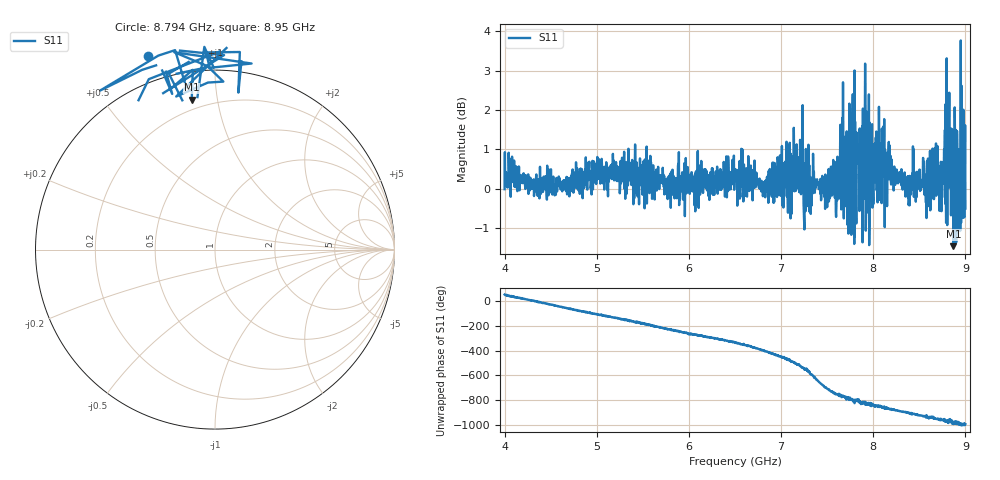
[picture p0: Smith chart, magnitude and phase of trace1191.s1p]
! Created with skrf 1.8.0 (http://scikit-rf.org).
# Hz S RI R 50.0
!freq ReS11 ImS11
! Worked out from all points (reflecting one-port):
!   1601 points, 4 GHz to 9 GHz, reference 50 ohm
!   lowest |S11| = -1.5 dB at 8.869 GHz (marker M1), VSWR 11.98, Z = 7.2 + j42.3 ohm
!   phase of S11 starts at 54 deg and turns -1049 deg over the sweep
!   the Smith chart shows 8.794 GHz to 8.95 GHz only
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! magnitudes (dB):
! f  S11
! 4 GHz  0.0
! 4.069 GHz  0.8
! 4.625 GHz  -0.1
! 5.25 GHz  -0.1
! 5.875 GHz  0.0
! 6.5 GHz  0.3
! 7.125 GHz  0.2
! 7.209 GHz  1.1
! 7.262 GHz  -0.1
! 7.281 GHz  -0.2
! 7.609 GHz  -0.3
! 7.65 GHz  0.6
! 7.691 GHz  1.3
! 7.706 GHz  -0.1
! 7.75 GHz  0.5
! 7.769 GHz  -0.1
! 7.822 GHz  1.1
! 7.872 GHz  0.8
! 7.928 GHz  1.5
! 7.981 GHz  -0.3
! 8.097 GHz  0.6
! 8.375 GHz  0.0
! 8.612 GHz  -0.1
! 8.822 GHz  1.5
! 8.869 GHz  -1.5
! 8.919 GHz  -0.6
! 8.972 GHz  0.3
! 9 GHz  -0.5
